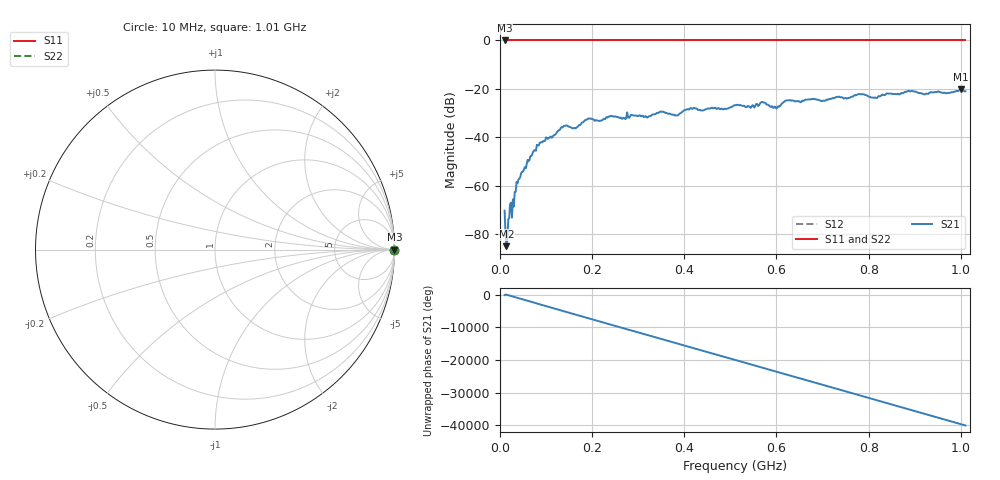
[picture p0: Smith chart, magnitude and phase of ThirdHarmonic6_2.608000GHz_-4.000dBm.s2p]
! 8/17/2025 5:41:22 AM
! C:\ANRITSUVNA\TEMP\TEMP.S2P
! CHANNEL.1
! TR.MEASUREMENT
! RAW.DATA
! RF.CORRECTION.OFF
! AVERAGING.OFF
! IF.BANDWIDTH: 5KHZ
! SWEEPTYPE:  FREQ.SWEEP(Linear)
! Reference Plane Port Info
! PORT:  PORT1  PORT2
! DISTANCE:  0  m  0  m
! TIME:  0  s  0  s
! PHASE.OFFSET:  0  deg.  0  deg.
! LOSS:  0  dB  0  dB
! REF.LOSS:  0  dB  0  dB
! REF.FREQ:  0  Hz  0  Hz
! Power Info
! POWER:  -20  dBm  -20  dBm
! EFF.POWER:  -20  dBm  -20  dBm
! SOURCE.ATTEN:  0  dB  0  dB
! TEST.ATTEN:  0  dB  0  dB
# GHZ S RI R 50.0
! FREQ.GHZ  S11RE  S11IM  S21RE  S21IM  S12RE  S12IM  S22RE  S22IM
!; PortSelection: Port_12
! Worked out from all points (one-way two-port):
!   501 points, 10 MHz to 1.01 GHz, reference 50 ohm
!   highest |S21| = -20.27 dB at 1 GHz (marker M1); lowest = -85.0 dB at 14 MHz (marker M2)
!   lowest |S11| = 0.0 dB at 10 MHz (marker M3)
!   |S11| at or under -10 dB: nowhere
!   |S22| runs from 0.0 to 0.0 dB; largest |S21 - S12| = 1.1
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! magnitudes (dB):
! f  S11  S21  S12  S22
! 10 MHz  0.0  -70.4  0.0  0.0
! 14 MHz  0.0  -85.0  0.0  0.0
! 16 MHz  0.0  -82.0  0.0  0.0
! 20 MHz  0.0  -73.4  0.0  0.0
! 30 MHz  0.0  -68.6  0.0  0.0
! 40 MHz  0.0  -57.4  0.0  0.0
! 84 MHz  0.0  -43.4  0.0  0.0
! 136 MHz  0.0  -35.9  0.0  0.0
! 162 MHz  0.0  -36.2  0.0  0.0
! 178 MHz  0.0  -34.0  0.0  0.0
! 194 MHz  0.0  -32.2  0.0  0.0
! 344 MHz  0.0  -30.0  0.0  0.0
! 384 MHz  0.0  -31.0  0.0  0.0
! 416 MHz  0.0  -28.2  0.0  0.0
! 510 MHz  0.0  -26.8  0.0  0.0
! 570 MHz  0.0  -25.4  0.0  0.0
! 598 MHz  0.0  -27.5  0.0  0.0
! 624 MHz  0.0  -24.8  0.0  0.0
! 678 MHz  0.0  -24.2  0.0  0.0
! 844 MHz  0.0  -22.0  0.0  0.0
! 1 GHz  0.0  -20.3  0.0  0.0
! 1.01 GHz  0.0  -21.0  0.0  0.0
